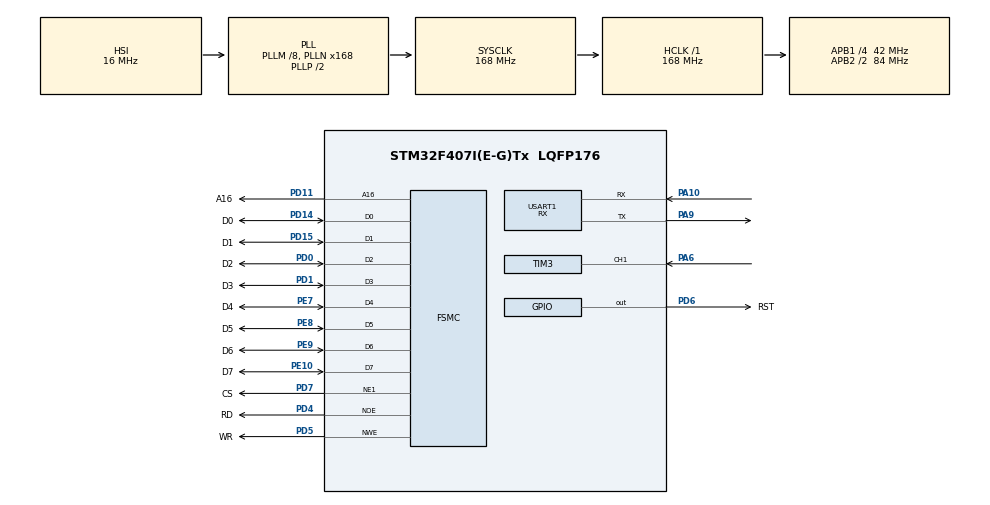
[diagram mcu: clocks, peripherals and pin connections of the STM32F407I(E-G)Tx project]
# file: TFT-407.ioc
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Dma.Request0=USART1_RX
Dma.USART1_RX.0.Direction=DMA_PERIPH_TO_MEMORY
Dma.USART1_RX.0.FIFOMode=DMA_FIFOMODE_DISABLE
Dma.USART1_RX.0.Instance=DMA2_Stream2
Dma.USART1_RX.0.MemDataAlignment=DMA_MDATAALIGN_BYTE
Dma.USART1_RX.0.MemInc=DMA_MINC_ENABLE
Dma.USART1_RX.0.Mode=DMA_CIRCULAR
Dma.USART1_RX.0.PeriphDataAlignment=DMA_PDATAALIGN_BYTE
Dma.USART1_RX.0.PeriphInc=DMA_PINC_DISABLE
Dma.USART1_RX.0.Priority=DMA_PRIORITY_HIGH
FSMC.AddressHoldTime1=10
FSMC.AddressSetupTime1=3
FSMC.BusTurnAroundDuration1=10
FSMC.DataSetupTime1=15
FSMC.ExtendedMode1=FSMC_EXTENDED_MODE_ENABLE
Mcu.Family=STM32F4
Mcu.Name=STM32F407I(E-G)Tx
Mcu.Package=LQFP176
NVIC.DMA2_Stream2_IRQn=true\:0\:0\:false\:false\:true\:false\:true\:true
NVIC.PriorityGroup=NVIC_PRIORITYGROUP_4
NVIC.TIM1_UP_TIM10_IRQn=true\:0\:0\:false\:false\:true\:true\:true\:true
NVIC.TIM2_IRQn=true\:0\:0\:false\:false\:true\:true\:true\:true
NVIC.TIM4_IRQn=true\:0\:0\:false\:false\:true\:true\:true\:true
NVIC.TIM5_IRQn=true\:0\:0\:false\:false\:true\:true\:true\:true
NVIC.TIM6_DAC_IRQn=true\:0\:0\:false\:false\:true\:true\:true\:true
NVIC.USART1_IRQn=true\:0\:0\:false\:false\:true\:true\:true\:true
PA10.Mode=Asynchronous
PA10.Signal=USART1_RX
PA13.GPIO_Label=SWDIO
PA13.Mode=Serial_Wire
PA13.Signal=SYS_JTMS-SWDIO
PA14.GPIO_Label=SWCLK
PA14.Mode=Serial_Wire
PA14.Signal=SYS_JTCK-SWCLK
PA6.Signal=S_TIM3_CH1
PA9.Mode=Asynchronous
PA9.Signal=USART1_TX
PD0.GPIO_Label=D2
PD0.Signal=FSMC_D2_DA2
PD1.GPIO_Label=D3
PD1.Signal=FSMC_D3_DA3
PD11.GPIO_Label=A16
PD11.Signal=FSMC_A16_CLE
PD14.GPIO_Label=D0
PD14.Signal=FSMC_D0_DA0
PD15.GPIO_Label=D1
PD15.Signal=FSMC_D1_DA1
PD4.GPIO_Label=RD
PD4.Signal=FSMC_NOE
PD5.GPIO_Label=WR
PD5.Signal=FSMC_NWE
PD6.GPIO_Label=RST
PD6.GPIO_PuPd=GPIO_PULLUP
PD6.GPIO_Speed=GPIO_SPEED_FREQ_HIGH
PD6.PinState=GPIO_PIN_SET
PD6.Signal=GPIO_Output
PD7.GPIO_Label=CS
PD7.Mode=NorPsramChipSelect1_1
PD7.Signal=FSMC_NE1
PE10.GPIO_Label=D7
PE10.Signal=FSMC_D7_DA7
PE7.GPIO_Label=D4
PE7.Signal=FSMC_D4_DA4
PE8.GPIO_Label=D5
PE8.Signal=FSMC_D5_DA5
PE9.GPIO_Label=D6
PE9.Signal=FSMC_D6_DA6
PH0-OSC_IN.GPIO_Label=OSC_IN
PH0-OSC_IN.Mode=HSE-External-Oscillator
PH0-OSC_IN.Signal=RCC_OSC_IN
PH1-OSC_OUT.GPIO_Label=OSC_OUT
PH1-OSC_OUT.Mode=HSE-External-Oscillator
PH1-OSC_OUT.Signal=RCC_OSC_OUT
ProjectManager.HeapSize=0x200
ProjectManager.StackSize=0x400
ProjectManager.TargetToolchain=STM32CubeIDE
RCC.48MHZClocksFreq_Value=84000000
RCC.AHBFreq_Value=168000000
RCC.APB1CLKDivider=RCC_HCLK_DIV4
RCC.APB1Freq_Value=42000000
RCC.APB1TimFreq_Value=84000000
RCC.APB2CLKDivider=RCC_HCLK_DIV2
RCC.APB2Freq_Value=84000000
RCC.APB2TimFreq_Value=168000000
RCC.CortexFreq_Value=168000000
RCC.HCLKFreq_Value=168000000
RCC.HSE_VALUE=8000000
RCC.HSI_VALUE=16000000
RCC.LSE_VALUE=32768
RCC.PLLM=8
RCC.PLLN=168
RCC.SYSCLKFreq_VALUE=168000000
RCC.SYSCLKSource=RCC_SYSCLKSOURCE_PLLCLK
RCC.VCOOutputFreq_Value=336000000
SH.FSMC_A16_CLE.0=FSMC_A16,A16_1
SH.FSMC_D0_DA0.0=FSMC_D0,8b-d1
SH.FSMC_D1_DA1.0=FSMC_D1,8b-d1
SH.FSMC_D2_DA2.0=FSMC_D2,8b-d1
SH.FSMC_D3_DA3.0=FSMC_D3,8b-d1
SH.FSMC_D4_DA4.0=FSMC_D4,8b-d1
SH.FSMC_D5_DA5.0=FSMC_D5,8b-d1
SH.FSMC_D6_DA6.0=FSMC_D6,8b-d1
SH.FSMC_D7_DA7.0=FSMC_D7,8b-d1
SH.FSMC_NOE.0=FSMC_NOE,Lcd1
SH.FSMC_NWE.0=FSMC_NWE,Lcd1
SH.S_TIM3_CH1.0=TIM3_CH1,PWM_Input_1
TIM1.Prescaler=167
TIM2.Period=3399
TIM2.Prescaler=33599
TIM3.Prescaler=25
TIM4.Period=1249
TIM4.Prescaler=33599
TIM4.TIM_MasterOutputTrigger=TIM_TRGO_UPDATE
TIM5.AutoReloadPreload=TIM_AUTORELOAD_PRELOAD_ENABLE
TIM5.Period=1499
TIM5.Prescaler=33599
TIM6.Period=4999
TIM6.Prescaler=33599
USART1.Mode=MODE_RX
USART1.VirtualMode=VM_ASYNC
USART1.WordLength=WORDLENGTH_8B
VP_TIM1_VS_ClockSourceINT.Mode=Internal
VP_TIM2_VS_ClockSourceINT.Mode=Internal
VP_TIM3_VS_ClockSourceINT.Mode=Internal
VP_TIM4_VS_ClockSourceINT.Mode=Internal
VP_TIM5_VS_ClockSourceINT.Mode=Internal
VP_TIM6_VS_ClockSourceINT.Mode=Enable_Timer
board=custom

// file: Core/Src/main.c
/* USER CODE BEGIN Header */
/**
 ******************************************************************************
 * @file           : main.c
 * @brief          : Main program body
 ******************************************************************************
 * @attention
 *
 * Copyright (c) 2022 STMicroelectronics.
 * All rights reserved.
 *
 * This software is licensed under terms that can be found in the LICENSE file
 * in the root directory of this software component.
 * If no LICENSE file comes with this software, it is provided AS-IS.
 *
 ******************************************************************************
 */
/* USER CODE END Header */
#include "main.h"
#include "dma.h"
#include "tim.h"
#include "usart.h"
#include "gpio.h"
#include "fsmc.h"

/* USER CODE BEGIN Includes */
#include "Init.h"
#include "Images.h"
#include "usart_dma_rx.h"
/* USER CODE END Includes */

/* USER CODE BEGIN PD */
uint8_t hh = 3;//Корректировка высоты картинки
/* USER CODE END PD */

void SystemClock_Config(void);

int main(void)
{

  /* MCU Configuration--------------------------------------------------------*/

  /* Reset of all peripherals, Initializes the Flash interface and the Systick. */
  HAL_Init();

  /* Configure the system clock */
  SystemClock_Config();

  /* Initialize all configured peripherals */
  MX_GPIO_Init();
  MX_DMA_Init();
  MX_FSMC_Init();
  MX_USART1_UART_Init();
  MX_TIM1_Init();
  MX_TIM2_Init();
  MX_TIM3_Init();
  MX_TIM4_Init();
  MX_TIM5_Init();
  MX_TIM6_Init();
  /* USER CODE BEGIN 2 */
	DWT_Init();

	init_9488();

//Чертим прямоугольник по периметру  72x23
	fillScreen(0x0000);
	fillRect(0, (0 + hh), 465, 2, ILI9488_CYAN); //горизонт
	fillRect(0, (148 + hh), 465, 2, ILI9488_CYAN); //горизонт
	fillRect(0, (2 + hh), 2, 148, ILI9488_CYAN); //вертикаль
	fillRect(463, (2 + hh), 2, 148, ILI9488_CYAN); //вертикаль
	fillRect(149, (0 + hh), 2, 150, ILI9488_CYAN); //вертикаль

	drawImage(barbecue, 426, (6 + hh), 30, 140);
	drawImage(termometr, 300, (6 + hh), 14, 35);
	drawImage(regulator, 290, (107 + hh), 35, 35);

	drawImage(zero_green, 342, (8 + hh), 15, 35);  //Текущая
	drawImage(zero_green, 360, (8 + hh), 15, 35);  //темпера
	drawImage(zero_green, 378, (8 + hh), 15, 35);  //тура

	drawImage(zero_green, 342, (108 + hh), 15, 35);  //Установленная
	drawImage(zero_green, 360, (108 + hh), 15, 35);  //темпера
	drawImage(zero_green, 378, (108 + hh), 15, 35);  //тура

	drawImage(zero, 318, (53 + hh), 20, 45);  //Время
	drawImage(zero, 340, (53 + hh), 20, 45);  //--||--
	drawImage(zero, 375, (53 + hh), 20, 45);  //--||--
	drawImage(zero, 397, (53 + hh), 20, 45);  //--||--

	drawImage(dots, 365, (63 + hh), 5, 25);

	drawImage(grad_C, 402, (8 + hh), 8, 8);
	drawImage(grad_C, 402, (108 + hh), 8, 8);

	drawImage(cooler_0, 200, (70 + hh), 50, 52);  //Вентилятор

	HAL_TIM_Base_Stop_IT(&htim2);
	HAL_UART_Receive_DMA(&huart1, rxBuffer, RX_BUFFER_SIZE);//Запускаем USART через DMA
	__HAL_UART_ENABLE_IT(&huart1, UART_IT_IDLE);//Разрешаем прерывание UART по концу передачи
  /* USER CODE END 2 */

  /* Infinite loop */
  /* USER CODE BEGIN WHILE */
	while (1) {
		//HAL_UART_Receive_IT(&huart1, buff_new, 20);
    /* USER CODE END WHILE */

	}
}

void SystemClock_Config(void)
{
  RCC_OscInitTypeDef RCC_OscInitStruct = {0};
  RCC_ClkInitTypeDef RCC_ClkInitStruct = {0};

  /** Configure the main internal regulator output voltage
  */
  __HAL_RCC_PWR_CLK_ENABLE();
  __HAL_PWR_VOLTAGESCALING_CONFIG(PWR_REGULATOR_VOLTAGE_SCALE1);

  /** Initializes the RCC Oscillators according to the specified parameters
  * in the RCC_OscInitTypeDef structure.
  */
  RCC_OscInitStruct.OscillatorType = RCC_OSCILLATORTYPE_HSI;
  RCC_OscInitStruct.HSIState = RCC_HSI_ON;
  RCC_OscInitStruct.HSICalibrationValue = RCC_HSICALIBRATION_DEFAULT;
  RCC_OscInitStruct.PLL.PLLState = RCC_PLL_ON;
  RCC_OscInitStruct.PLL.PLLSource = RCC_PLLSOURCE_HSI;
  RCC_OscInitStruct.PLL.PLLM = 8;
  RCC_OscInitStruct.PLL.PLLN = 168;
  RCC_OscInitStruct.PLL.PLLP = RCC_PLLP_DIV2;
  RCC_OscInitStruct.PLL.PLLQ = 4;
  if (HAL_RCC_OscConfig(&RCC_OscInitStruct) != HAL_OK)
  {
    Error_Handler();
  }

  /** Initializes the CPU, AHB and APB buses clocks
  */
  RCC_ClkInitStruct.ClockType = RCC_CLOCKTYPE_HCLK|RCC_CLOCKTYPE_SYSCLK
                              |RCC_CLOCKTYPE_PCLK1|RCC_CLOCKTYPE_PCLK2;
  RCC_ClkInitStruct.SYSCLKSource = RCC_SYSCLKSOURCE_PLLCLK;
  RCC_ClkInitStruct.AHBCLKDivider = RCC_SYSCLK_DIV1;
  RCC_ClkInitStruct.APB1CLKDivider = RCC_HCLK_DIV4;
  RCC_ClkInitStruct.APB2CLKDivider = RCC_HCLK_DIV2;

  if (HAL_RCC_ClockConfig(&RCC_ClkInitStruct, FLASH_LATENCY_5) != HAL_OK)
  {
    Error_Handler();
  }
}

void Error_Handler(void)
{
	__disable_irq();
	while (1) {
	}
}
